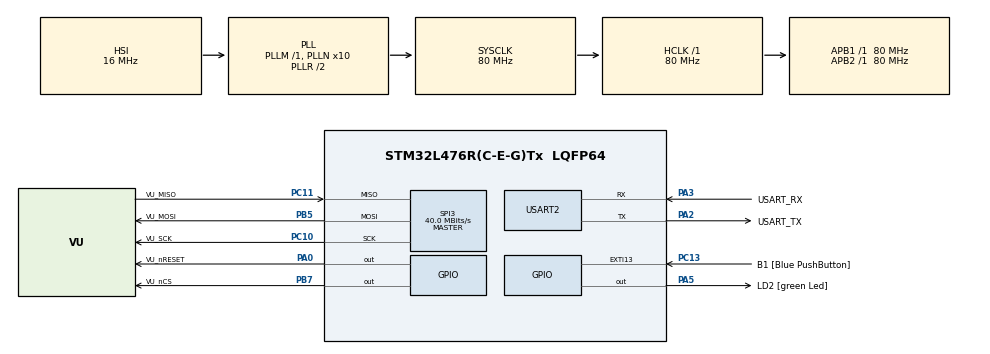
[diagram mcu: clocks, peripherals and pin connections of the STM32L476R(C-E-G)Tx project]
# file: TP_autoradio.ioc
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FREERTOS.Tasks01=defaultTask,0,128,StartDefaultTask,Default,NULL,Dynamic,NULL,NULL
FREERTOS.configUSE_NEWLIB_REENTRANT=1
Mcu.Family=STM32L4
Mcu.Name=STM32L476R(C-E-G)Tx
Mcu.Package=LQFP64
NVIC.PriorityGroup=NVIC_PRIORITYGROUP_4
NVIC.TIM7_IRQn=true\:15\:0\:false\:false\:true\:false\:false\:true\:true
NVIC.TimeBase=TIM7_IRQn
NVIC.TimeBaseIP=TIM7
NVIC.USART2_IRQn=true\:5\:0\:false\:false\:true\:true\:true\:true\:true
PA0.GPIO_Label=VU_nRESET
PA0.PinState=GPIO_PIN_SET
PA0.Signal=GPIO_Output
PA13\ (JTMS-SWDIO).GPIO_Label=TMS
PA13\ (JTMS-SWDIO).Mode=Serial_Wire
PA13\ (JTMS-SWDIO).Signal=SYS_JTMS-SWDIO
PA14\ (JTCK-SWCLK).GPIO_Label=TCK
PA14\ (JTCK-SWCLK).Mode=Serial_Wire
PA14\ (JTCK-SWCLK).Signal=SYS_JTCK-SWCLK
PA2.GPIO_Label=USART_TX
PA2.GPIO_Mode=GPIO_MODE_AF_PP
PA2.GPIO_PuPd=GPIO_NOPULL
PA2.GPIO_Speed=GPIO_SPEED_FREQ_VERY_HIGH
PA2.Mode=Asynchronous
PA2.Signal=USART2_TX
PA3.GPIO_Label=USART_RX
PA3.GPIO_Mode=GPIO_MODE_AF_PP
PA3.GPIO_PuPd=GPIO_NOPULL
PA3.GPIO_Speed=GPIO_SPEED_FREQ_VERY_HIGH
PA3.Mode=Asynchronous
PA3.Signal=USART2_RX
PA5.GPIO_Label=LD2 [green Led]
PA5.GPIO_ModeDefaultOutputPP=GPIO_MODE_OUTPUT_PP
PA5.GPIO_PuPd=GPIO_NOPULL
PA5.GPIO_Speed=GPIO_SPEED_FREQ_LOW
PA5.Signal=GPIO_Output
PB3\ (JTDO-TRACESWO).GPIO_Label=SWO
PB3\ (JTDO-TRACESWO).Signal=SYS_JTDO-SWO
PB5.GPIO_Label=VU_MOSI
PB5.Mode=Full_Duplex_Master
PB5.Signal=SPI3_MOSI
PB7.GPIO_Label=VU_nCS
PB7.PinState=GPIO_PIN_SET
PB7.Signal=GPIO_Output
PC10.GPIO_Label=VU_SCK
PC10.Mode=Full_Duplex_Master
PC10.Signal=SPI3_SCK
PC11.GPIO_Label=VU_MISO
PC11.Mode=Full_Duplex_Master
PC11.Signal=SPI3_MISO
PC13.GPIO_Label=B1 [Blue PushButton]
PC13.GPIO_ModeDefaultEXTI=GPIO_MODE_IT_FALLING
PC13.GPIO_PuPd=GPIO_NOPULL
PC13.Signal=GPXTI13
PC14-OSC32_IN\ (PC14).Mode=LSE-External-Oscillator
PC14-OSC32_IN\ (PC14).Signal=RCC_OSC32_IN
PC15-OSC32_OUT\ (PC15).Mode=LSE-External-Oscillator
PC15-OSC32_OUT\ (PC15).Signal=RCC_OSC32_OUT
PH0-OSC_IN\ (PH0).Signal=RCC_OSC_IN
PH1-OSC_OUT\ (PH1).Signal=RCC_OSC_OUT
ProjectManager.HeapSize=0x200
ProjectManager.StackSize=0x400
ProjectManager.TargetToolchain=STM32CubeIDE
RCC.ADCFreq_Value=64000000
RCC.AHBFreq_Value=80000000
RCC.APB1Freq_Value=80000000
RCC.APB1TimFreq_Value=80000000
RCC.APB2Freq_Value=80000000
RCC.APB2TimFreq_Value=80000000
RCC.CortexFreq_Value=80000000
RCC.HCLKFreq_Value=80000000
RCC.HSE_VALUE=8000000
RCC.HSI_VALUE=16000000
RCC.MSI_VALUE=4000000
RCC.PLLN=10
RCC.PLLSourceVirtual=RCC_PLLSOURCE_HSI
RCC.PREFETCH_ENABLE=1
RCC.SYSCLKFreq_VALUE=80000000
RCC.SYSCLKSource=RCC_SYSCLKSOURCE_PLLCLK
RCC.USBFreq_Value=64000000
RCC.VCOOutputFreq_Value=160000000
SPI3.CalculateBaudRate=40.0 MBits/s
SPI3.DataSize=SPI_DATASIZE_8BIT
SPI3.Direction=SPI_DIRECTION_2LINES
SPI3.Mode=SPI_MODE_MASTER
SPI3.VirtualType=VM_MASTER
USART2.VirtualMode-Asynchronous=VM_ASYNC
VP_FREERTOS_VS_CMSIS_V1.Mode=CMSIS_V1
VP_SYS_VS_tim7.Mode=TIM7
board=NUCLEO-L476RG

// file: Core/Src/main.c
/* USER CODE BEGIN Header */
/**
 ******************************************************************************
 * @file : main.c
 * @brief : Main program body
 ******************************************************************************
 * @attention
 *
 * Copyright (c) 2025 STMicroelectronics.
 * All rights reserved.
 *
 * This software is licensed under terms that can be found in the LICENSE file
 * in the root directory of this software component.
 * If no LICENSE file comes with this software, it is provided AS-IS.
 *
 ******************************************************************************
 */
/* USER CODE END Header */
#include "main.h"
#include "cmsis_os.h"
#include "spi.h"
#include "usart.h"
#include "gpio.h"

/* USER CODE BEGIN Includes */
#include <string.h>
#include <stdio.h>
#include "shell.h"
#include "drv_uart2.h"
#include"drv_LED.h"
/* USER CODE END Includes */

/* USER CODE BEGIN PV */
uint8_t rxbuffer;
SemaphoreHandle_t uartRxSemaphore;
h_shell_t h_shell;
extern SPI_HandleTypeDef hspi3;

/* USER CODE END PV */

void SystemClock_Config(void);
void MX_FREERTOS_Init(void);

/* USER CODE BEGIN 0 */
int __io_putchar(int chr)
{
	HAL_UART_Transmit(&huart2, (uint8_t*) &chr, 1, HAL_MAX_DELAY);
	return chr;
}

//=======QUESTION 6======
/*TaskHandle_t h_shell_task;

void ShellTask(void * argument)
{

shell_init();
shell_run();

}

void HAL_UART_RxCpltCallback(UART_HandleTypeDef *huart)
{
if (huart->Instance == USART2)
{
BaseType_t xHigherPriorityTaskWoken = pdFALSE;

xSemaphoreGiveFromISR(uartRxSemaphore, &xHigherPriorityTaskWoken);
HAL_UART_Receive_IT(&huart2, &rxbuffer, 1);

portYIELD_FROM_ISR(xHigherPriorityTaskWoken);
}
}*/
int fonction(h_shell_t * h_shell, int argc, char ** argv)
{
	int size = snprintf (h_shell->print_buffer, BUFFER_SIZE, "LEDs  Toggled\r\n");
	h_shell->drv.transmit(h_shell->print_buffer, size);

	return 0;
}

/* USER CODE END 0 */

int main(void)
{

	/* MCU Configuration--------------------------------------------------------*/

	/* Reset of all peripherals, Initializes the Flash interface and the Systick. */
	HAL_Init();

	/* Configure the system clock */
	SystemClock_Config();

	/* Initialize all configured peripherals */
	MX_GPIO_Init();
	MX_USART2_UART_Init();
	MX_SPI3_Init();
	/* USER CODE BEGIN 2 */

if (xTaskCreate(ShellTask,"shell", 256, NULL,1, &h_shell_task)!=pdPASS)
{
printf("error creation task shell\r\n");
Error_Handler();
}

uartRxSemaphore = xSemaphoreCreateBinary();
if (uartRxSemaphore == NULL)
{
Error_Handler();
}

vTaskStartScheduler();

	/*h_shell.drv.receive = drv_uart2_receive;
    h_shell.drv.transmit = drv_uart2_transmit;

    shell_init(&h_shell);
    shell_add(&h_shell, 'l', fonction, "loggle LEDs");
    shell_run(&h_shell);*/
	init_MCP23017();
	LED_Driver_t led_driver;
	LED_Driver_Init(&led_driver);
	/* USER CODE END 2 */

	/* Call init function for freertos objects (in cmsis_os2.c) */
	// MX_FREERTOS_Init();

	/* Start scheduler */
	// osKernelStart();

	/* We should never get here as control is now taken by the scheduler */

	/* Infinite loop */
	while (1)
	{

		/* USER CODE BEGIN 3 */

		//Blink_LEDs();
		//LED_Chenillard();

		led_driver.blink_all();
	}
	/* USER CODE END 3 */
}

void SystemClock_Config(void)
{
	RCC_OscInitTypeDef RCC_OscInitStruct = {0};
	RCC_ClkInitTypeDef RCC_ClkInitStruct = {0};

	/** Configure the main internal regulator output voltage
	 */
	if (HAL_PWREx_ControlVoltageScaling(PWR_REGULATOR_VOLTAGE_SCALE1) != HAL_OK)
	{
		Error_Handler();
	}

	/** Initializes the RCC Oscillators according to the specified parameters
	 * in the RCC_OscInitTypeDef structure.
	 */
	RCC_OscInitStruct.OscillatorType = RCC_OSCILLATORTYPE_HSI;
	RCC_OscInitStruct.HSIState = RCC_HSI_ON;
	RCC_OscInitStruct.HSICalibrationValue = RCC_HSICALIBRATION_DEFAULT;
	RCC_OscInitStruct.PLL.PLLState = RCC_PLL_ON;
	RCC_OscInitStruct.PLL.PLLSource = RCC_PLLSOURCE_HSI;
	RCC_OscInitStruct.PLL.PLLM = 1;
	RCC_OscInitStruct.PLL.PLLN = 10;
	RCC_OscInitStruct.PLL.PLLP = RCC_PLLP_DIV7;
	RCC_OscInitStruct.PLL.PLLQ = RCC_PLLQ_DIV2;
	RCC_OscInitStruct.PLL.PLLR = RCC_PLLR_DIV2;
	if (HAL_RCC_OscConfig(&RCC_OscInitStruct) != HAL_OK)
	{
		Error_Handler();
	}

	/** Initializes the CPU, AHB and APB buses clocks
	 */
	RCC_ClkInitStruct.ClockType = RCC_CLOCKTYPE_HCLK|RCC_CLOCKTYPE_SYSCLK
			|RCC_CLOCKTYPE_PCLK1|RCC_CLOCKTYPE_PCLK2;
	RCC_ClkInitStruct.SYSCLKSource = RCC_SYSCLKSOURCE_PLLCLK;
	RCC_ClkInitStruct.AHBCLKDivider = RCC_SYSCLK_DIV1;
	RCC_ClkInitStruct.APB1CLKDivider = RCC_HCLK_DIV1;
	RCC_ClkInitStruct.APB2CLKDivider = RCC_HCLK_DIV1;

	if (HAL_RCC_ClockConfig(&RCC_ClkInitStruct, FLASH_LATENCY_4) != HAL_OK)
	{
		Error_Handler();
	}
}

void HAL_TIM_PeriodElapsedCallback(TIM_HandleTypeDef *htim)
{
	if (htim->Instance == TIM7) {
		HAL_IncTick();
	}
}

void Error_Handler(void)
{
	__disable_irq();
	while (1)
	{
	}
}
